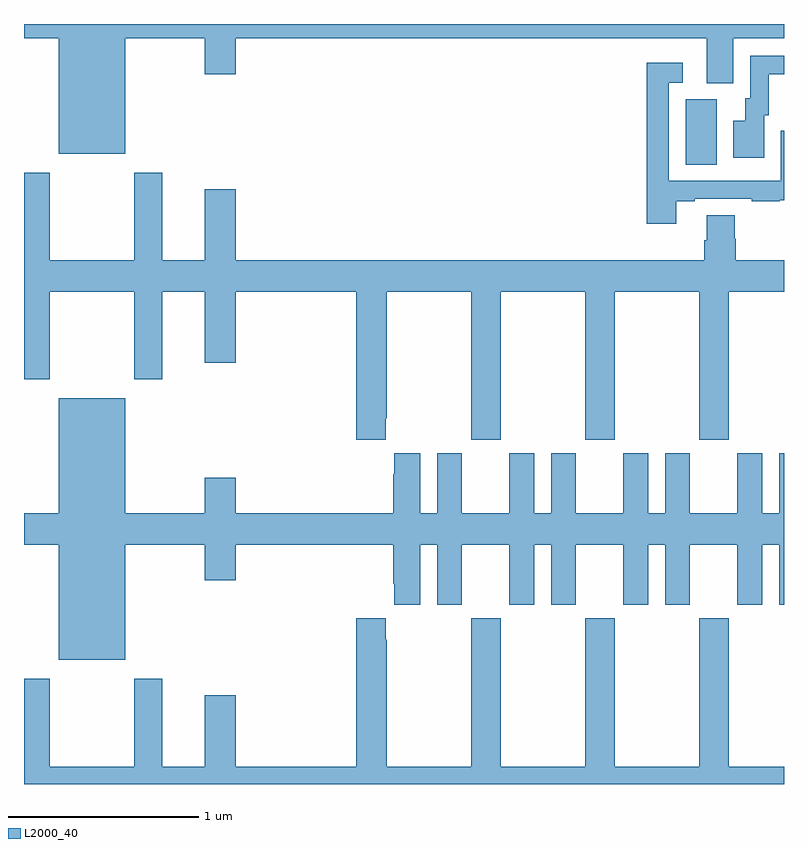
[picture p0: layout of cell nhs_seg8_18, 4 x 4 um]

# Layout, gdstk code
import gdstk
lib = gdstk.Library(unit=1e-6, precision=1e-09)
def R(c, l, rs):  # rectangles x0, y0, x1, y1
    for r in rs: c.add(gdstk.rectangle(r[:2], r[2:], *l))
def P(c, l, *ps):  # polygons
    for p in ps: c.add(gdstk.Polygon(p, *l))
L2000_40 = (2000, 40)

nhs_seg8_18 = lib.new_cell('nhs_seg8_18')
R(nhs_seg8_18, L2000_40, [(114.482,1125.16,114.646,1125.504)])
P(nhs_seg8_18, L2000_40, [(111.532,1125.824),(111.95,1125.824),(111.95,1125.636),(112.114,1125.636),(112.114,1125.824),(114.593,1125.824),(114.593,1125.589),(114.733,1125.589),(114.733,1125.824),(115,1125.824),(115,1125.9),(111,1125.9),(111,1125.824),(111.182,1125.824),(111.182,1125.218),(111.532,1125.218)],
  [(114.895,1125.42),(114.919,1125.42),(114.919,1125.636),(115,1125.636),(115,1125.732),(114.822,1125.732),(114.822,1125.51),(114.797,1125.51),(114.797,1125.391),(114.734,1125.391),(114.734,1125.195),(114.895,1125.195)],
  [(114.433,1124.967),(114.529,1124.967),(114.529,1124.979),(114.829,1124.979),(114.829,1124.967),(114.977,1124.967),(114.977,1124.973),(115,1124.973),(115,1125.337),(114.984,1125.337),(114.984,1125.075),(114.393,1125.075),(114.393,1125.591),(114.466,1125.591),(114.466,1125.697),(114.277,1125.697),(114.277,1124.85),(114.433,1124.85)],
  [(112.903,1123.825),(112.908,1123.825),(112.908,1124.492),(113.353,1124.492),(113.353,1123.713),(113.508,1123.713),(113.508,1124.492),(113.953,1124.492),(113.953,1123.713),(114.108,1123.713),(114.108,1124.492),(114.553,1124.492),(114.553,1123.713),(114.708,1123.713),(114.708,1124.492),(115,1124.492),(115,1124.656),(114.746,1124.656),(114.746,1124.769),(114.741,1124.769),(114.741,1124.894),(114.593,1124.894),(114.593,1124.762),(114.581,1124.762),(114.581,1124.656),(112.114,1124.656),(112.114,1125.031),(111.95,1125.031),(111.95,1124.656),(111.727,1124.656),(111.727,1125.118),(111.58,1125.118),(111.58,1124.656),(111.135,1124.656),(111.135,1125.118),(111,1125.118),(111,1124.031),(111.135,1124.031),(111.135,1124.492),(111.58,1124.492),(111.58,1124.031),(111.727,1124.031),(111.727,1124.492),(111.95,1124.492),(111.95,1124.118),(112.114,1124.118),(112.114,1124.492),(112.748,1124.492),(112.748,1123.713),(112.903,1123.713)],
  [(111.532,1123.16),(111.95,1123.16),(111.95,1122.972),(112.114,1122.972),(112.114,1123.16),(112.943,1123.16),(112.943,1122.955),(112.949,1122.955),(112.949,1122.843),(113.086,1122.843),(113.086,1123.16),(113.174,1123.16),(113.174,1122.843),(113.305,1122.843),(113.305,1123.16),(113.555,1123.16),(113.555,1122.843),(113.686,1122.843),(113.686,1123.16),(113.774,1123.16),(113.774,1122.843),(113.905,1122.843),(113.905,1123.16),(114.155,1123.16),(114.155,1122.843),(114.286,1122.843),(114.286,1123.16),(114.374,1123.16),(114.374,1122.843),(114.505,1122.843),(114.505,1123.16),(114.755,1123.16),(114.755,1122.843),(114.886,1122.843),(114.886,1123.16),(114.974,1123.16),(114.974,1122.843),(115,1122.843),(115,1123.642),(114.974,1123.642),(114.974,1123.324),(114.886,1123.324),(114.886,1123.642),(114.755,1123.642),(114.755,1123.324),(114.505,1123.324),(114.505,1123.642),(114.374,1123.642),(114.374,1123.324),(114.286,1123.324),(114.286,1123.642),(114.155,1123.642),(114.155,1123.324),(113.905,1123.324),(113.905,1123.642),(113.774,1123.642),(113.774,1123.324),(113.686,1123.324),(113.686,1123.642),(113.555,1123.642),(113.555,1123.324),(113.305,1123.324),(113.305,1123.642),(113.174,1123.642),(113.174,1123.324),(113.086,1123.324),(113.086,1123.642),(112.949,1123.642),(112.949,1123.529),(112.943,1123.529),(112.943,1123.324),(112.114,1123.324),(112.114,1123.513),(111.95,1123.513),(111.95,1123.324),(111.532,1123.324),(111.532,1123.93),(111.182,1123.93),(111.182,1123.324),(111,1123.324),(111,1123.16),(111.182,1123.16),(111.182,1122.554),(111.532,1122.554)],
  [(115,1121.992),(114.708,1121.992),(114.708,1122.772),(114.553,1122.772),(114.553,1121.992),(114.108,1121.992),(114.108,1122.772),(113.953,1122.772),(113.953,1121.992),(113.508,1121.992),(113.508,1122.772),(113.353,1122.772),(113.353,1121.992),(112.908,1121.992),(112.908,1122.659),(112.903,1122.659),(112.903,1122.772),(112.748,1122.772),(112.748,1121.992),(112.114,1121.992),(112.114,1122.367),(111.95,1122.367),(111.95,1121.992),(111.727,1121.992),(111.727,1122.454),(111.58,1122.454),(111.58,1121.992),(111.135,1121.992),(111.135,1122.454),(111,1122.454),(111,1121.9),(115,1121.9)])

lib.write_gds('nhs_seg8_18.gds')
